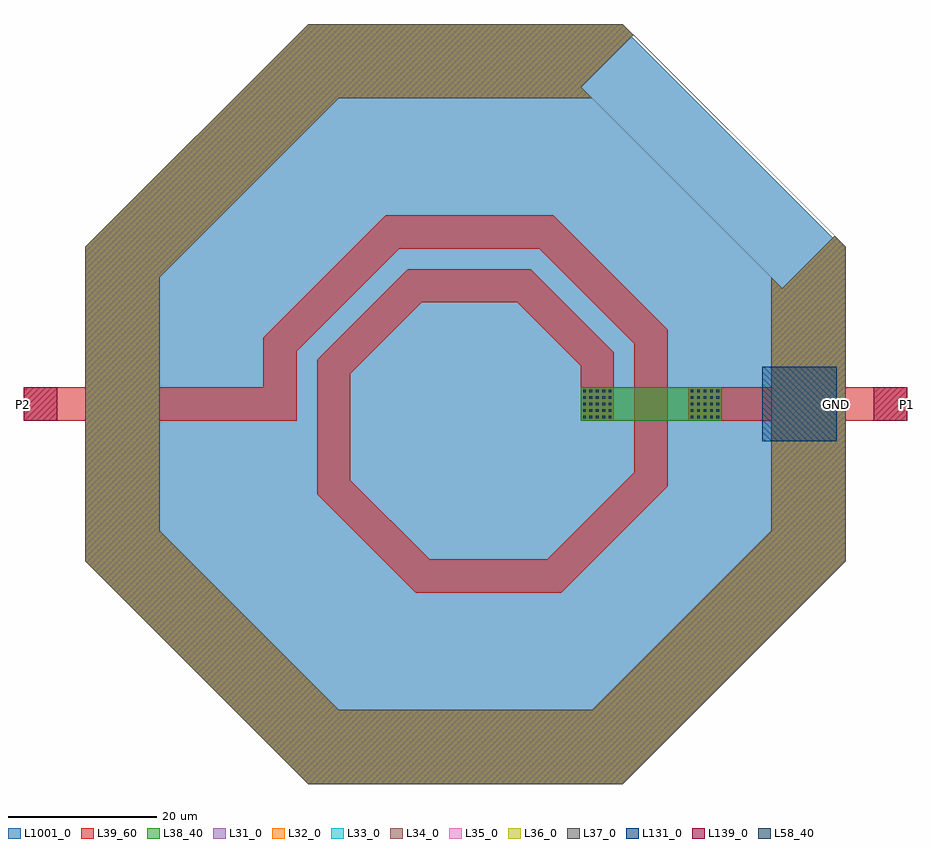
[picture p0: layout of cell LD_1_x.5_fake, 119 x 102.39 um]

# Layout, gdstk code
import gdstk
lib = gdstk.Library(unit=1e-6, precision=1e-09)
def R(c, l, rs):  # rectangles x0, y0, x1, y1
    for r in rs: c.add(gdstk.rectangle(r[:2], r[2:], *l))
def A(c, l, x, y, w, h, nx, ny, dx, dy):  # array of equal rectangles
    R(c, l, [(x+i*dx, y+j*dy, x+i*dx+w, y+j*dy+h) for i in range(nx) for j in range(ny)])
def P(c, l, *ps):  # polygons
    for p in ps: c.add(gdstk.Polygon(p, *l))
L31_0 = (31, 0)
L32_0 = (32, 0)
L33_0 = (33, 0)
L34_0 = (34, 0)
L35_0 = (35, 0)
L36_0 = (36, 0)
L37_0 = (37, 0)
L38_40 = (38, 40)
L39_60 = (39, 60)
L58_40 = (58, 40)
L131_0 = (131, 0)
L139_0 = (139, 0)
L1001_0 = (1001, 0)

ld_1_x_5_fake = lib.new_cell('LD_1_x.5_fake')
P(ld_1_x_5_fake, L31_0, [(42.658,15.598),(49.729,22.669),(21.205,51.193),(-21.205,51.193),(-51.193,21.205),(-51.193,-21.205),(-21.205,-51.193),(21.205,-51.193),(51.193,-21.205),(51.193,21.205),(22.669,49.729),(15.598,42.658),(41.193,17.063),(41.193,-17.063),(17.063,-41.193),(-17.063,-41.193),(-41.193,-17.063),(-41.193,17.063),(-17.063,41.193),(17.063,41.193)])
P(ld_1_x_5_fake, L32_0, [(42.658,15.598),(49.729,22.669),(21.205,51.193),(-21.205,51.193),(-51.193,21.205),(-51.193,-21.205),(-21.205,-51.193),(21.205,-51.193),(51.193,-21.205),(51.193,21.205),(22.669,49.729),(15.598,42.658),(41.193,17.063),(41.193,-17.063),(17.063,-41.193),(-17.063,-41.193),(-41.193,-17.063),(-41.193,17.063),(-17.063,41.193),(17.063,41.193)])
P(ld_1_x_5_fake, L33_0, [(42.658,15.598),(49.729,22.669),(21.205,51.193),(-21.205,51.193),(-51.193,21.205),(-51.193,-21.205),(-21.205,-51.193),(21.205,-51.193),(51.193,-21.205),(51.193,21.205),(22.669,49.729),(15.598,42.658),(41.193,17.063),(41.193,-17.063),(17.063,-41.193),(-17.063,-41.193),(-41.193,-17.063),(-41.193,17.063),(-17.063,41.193),(17.063,41.193)])
P(ld_1_x_5_fake, L34_0, [(42.658,15.598),(49.729,22.669),(21.205,51.193),(-21.205,51.193),(-51.193,21.205),(-51.193,-21.205),(-21.205,-51.193),(21.205,-51.193),(51.193,-21.205),(51.193,21.205),(22.669,49.729),(15.598,42.658),(41.193,17.063),(41.193,-17.063),(17.063,-41.193),(-17.063,-41.193),(-41.193,-17.063),(-41.193,17.063),(-17.063,41.193),(17.063,41.193)])
P(ld_1_x_5_fake, L35_0, [(42.658,15.598),(49.729,22.669),(21.205,51.193),(-21.205,51.193),(-51.193,21.205),(-51.193,-21.205),(-21.205,-51.193),(21.205,-51.193),(51.193,-21.205),(51.193,21.205),(22.669,49.729),(15.598,42.658),(41.193,17.063),(41.193,-17.063),(17.063,-41.193),(-17.063,-41.193),(-41.193,-17.063),(-41.193,17.063),(-17.063,41.193),(17.063,41.193)])
P(ld_1_x_5_fake, L36_0, [(42.658,15.598),(49.729,22.669),(21.205,51.193),(-21.205,51.193),(-51.193,21.205),(-51.193,-21.205),(-21.205,-51.193),(21.205,-51.193),(51.193,-21.205),(51.193,21.205),(22.669,49.729),(15.598,42.658),(41.193,17.063),(41.193,-17.063),(17.063,-41.193),(-17.063,-41.193),(-41.193,-17.063),(-41.193,17.063),(-17.063,41.193),(17.063,41.193)])
P(ld_1_x_5_fake, L37_0, [(42.658,15.598),(49.729,22.669),(21.205,51.193),(-21.205,51.193),(-51.193,21.205),(-51.193,-21.205),(-21.205,-51.193),(21.205,-51.193),(51.193,-21.205),(51.193,21.205),(22.669,49.729),(15.598,42.658),(41.193,17.063),(41.193,-17.063),(17.063,-41.193),(-17.063,-41.193),(-41.193,-17.063),(-41.193,17.063),(-17.063,41.193),(17.063,41.193)])
R(ld_1_x_5_fake, L38_40, [(15.5,-2.25,34.5,2.25)])
P(ld_1_x_5_fake, L38_40, [(42.658,15.598),(49.729,22.669),(21.205,51.193),(-21.205,51.193),(-51.193,21.205),(-51.193,-21.205),(-21.205,-51.193),(21.205,-51.193),(51.193,-21.205),(51.193,21.205),(22.669,49.729),(15.598,42.658),(41.193,17.063),(41.193,-17.063),(17.063,-41.193),(-17.063,-41.193),(-41.193,-17.063),(-41.193,17.063),(-17.063,41.193),(17.063,41.193)])
R(ld_1_x_5_fake, L39_60, [(-59.5,-2.25,-22.75,2.25), (30,-2.25,59.5,2.25)])
P(ld_1_x_5_fake, L39_60, [(15.5,-2.25),(20,-2.25),(20,7.002),(8.817,18.185),(-7.752,18.185),(-20,5.942),(-20,-12.127),(-6.692,-25.435),(12.882,-25.435),(27.25,-11.067),(27.25,10.007),(11.817,25.435),(-10.757,25.435),(-27.25,8.942),(-27.25,0),(-22.75,0),(-22.75,7.078),(-8.893,20.935),(9.953,20.935),(22.75,8.143),(22.75,-9.203),(11.018,-20.935),(-4.828,-20.935),(-15.5,-10.263),(-15.5,4.078),(-5.888,13.685),(6.953,13.685),(15.5,5.138)],
  [(42.658,15.598),(49.729,22.669),(21.205,51.193),(-21.205,51.193),(-51.193,21.205),(-51.193,-21.205),(-21.205,-51.193),(21.205,-51.193),(51.193,-21.205),(51.193,21.205),(22.669,49.729),(15.598,42.658),(41.193,17.063),(41.193,-17.063),(17.063,-41.193),(-17.063,-41.193),(-41.193,-17.063),(-41.193,17.063),(-17.063,41.193),(17.063,41.193)])
A(ld_1_x_5_fake, L58_40, 15.834, -1.915, 0.35, 0.35, 5, 5, 0.87, 0.87)
A(ld_1_x_5_fake, L58_40, 30.334, -1.915, 0.35, 0.35, 5, 5, 0.87, 0.87)
R(ld_1_x_5_fake, L131_0, [(40,-5,50,5)])
R(ld_1_x_5_fake, L139_0, [(-59.5,-2.25,-55,2.25), (55,-2.25,59.5,2.25)])
P(ld_1_x_5_fake, L1001_0, [(50.813,21.047),(21.047,50.813),(-21.047,50.813),(-50.813,21.047),(-50.813,-21.047),(-21.047,-50.813),(21.047,-50.813),(50.813,-21.047)],
  [(50.813,21.047),(21.047,50.813),(-21.047,50.813),(-50.813,21.047),(-50.813,-21.047),(-21.047,-50.813),(21.047,-50.813),(50.813,-21.047)],
  [(50.813,21.047),(21.047,50.813),(-21.047,50.813),(-50.813,21.047),(-50.813,-21.047),(-21.047,-50.813),(21.047,-50.813),(50.813,-21.047)],
  [(50.813,21.047),(21.047,50.813),(-21.047,50.813),(-50.813,21.047),(-50.813,-21.047),(-21.047,-50.813),(21.047,-50.813),(50.813,-21.047)],
  [(50.813,21.047),(21.047,50.813),(-21.047,50.813),(-50.813,21.047),(-50.813,-21.047),(-21.047,-50.813),(21.047,-50.813),(50.813,-21.047)],
  [(50.813,21.047),(21.047,50.813),(-21.047,50.813),(-50.813,21.047),(-50.813,-21.047),(-21.047,-50.813),(21.047,-50.813),(50.813,-21.047)],
  [(50.813,21.047),(21.047,50.813),(-21.047,50.813),(-50.813,21.047),(-50.813,-21.047),(-21.047,-50.813),(21.047,-50.813),(50.813,-21.047)],
  [(50.813,21.047),(21.047,50.813),(-21.047,50.813),(-50.813,21.047),(-50.813,-21.047),(-21.047,-50.813),(21.047,-50.813),(50.813,-21.047)],
  [(50.813,21.047),(21.047,50.813),(-21.047,50.813),(-50.813,21.047),(-50.813,-21.047),(-21.047,-50.813),(21.047,-50.813),(50.813,-21.047)])
ld_1_x_5_fake.add(gdstk.Label('P1', (59.499,0), layer=139, texttype=0))
ld_1_x_5_fake.add(gdstk.Label('P2', (-59.499,0), layer=139, texttype=0))
ld_1_x_5_fake.add(gdstk.Label('GND', (49.999,0), layer=131, texttype=0))

lib.write_gds('LD_1_x.5_fake.gds')
